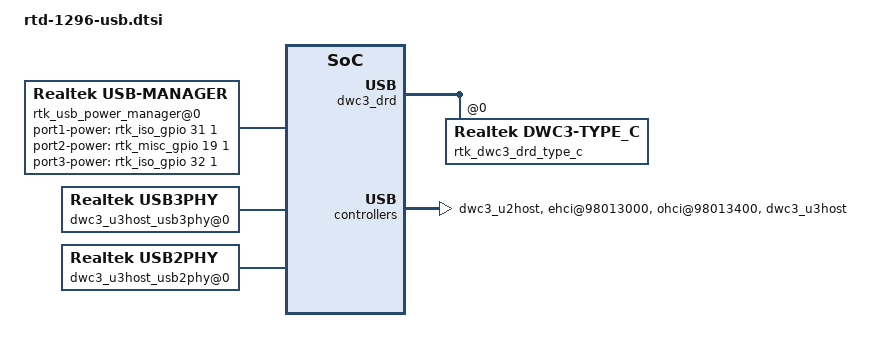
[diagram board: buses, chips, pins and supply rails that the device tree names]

/ {
	/include/ "rtd-129x-usb.dtsi"

	rtk_usb_power_manager@0 {
		compatible = "Realtek,usb-manager";
		realtek,port1-power-gpio = <&rtk_iso_gpio 31 1 0>; /*u2host power, output, default low */
		realtek,port2-power-gpio = <&rtk_misc_gpio 19 1 0>; /*ehci power, output, default low */
		realtek,port3-power-gpio = <&rtk_iso_gpio 32 1 0>; /*1296 u3host power, output, default low */

		status = "okay";
	};

	dwc3_drd: rtk_dwc3_drd@98013200 {
		compatible = "Realtek,dwc3";

		status = "okay";

		dwc3_drd@98020000 {
			dr_mode = "peripheral"; /*host, peripheral*/
		};

		rtk_dwc3_drd_type_c@0 {
			compatible = "Realtek,dwc3-type_c";
			drd_mode;  //depend on dr_mode = "peripheral"
		};

	};

	dwc3_u2host: rtk_dwc3_u2host@98013E00 {
		compatible = "Realtek,dwc3";

		status = "okay";
	};

	ehci@98013000 {
		compatible = "Realtek,rtd129x-ehci";

		status = "okay";
	};

	ohci@98013400 {
		compatible = "Realtek,rtd129x-ohci";

		status = "okay";
	};

	dwc3_u3host_usb3phy@0 {
		compatible = "Realtek,usb3phy";

		status = "okay";
	};

	dwc3_u3host_usb2phy@0 {
		compatible = "Realtek,usb2phy";

		status = "okay";
	};

	dwc3_u3host: rtk_dwc3_u3host@98013E00 {
		compatible = "Realtek,dwc3";

		status = "okay";
	};
};
